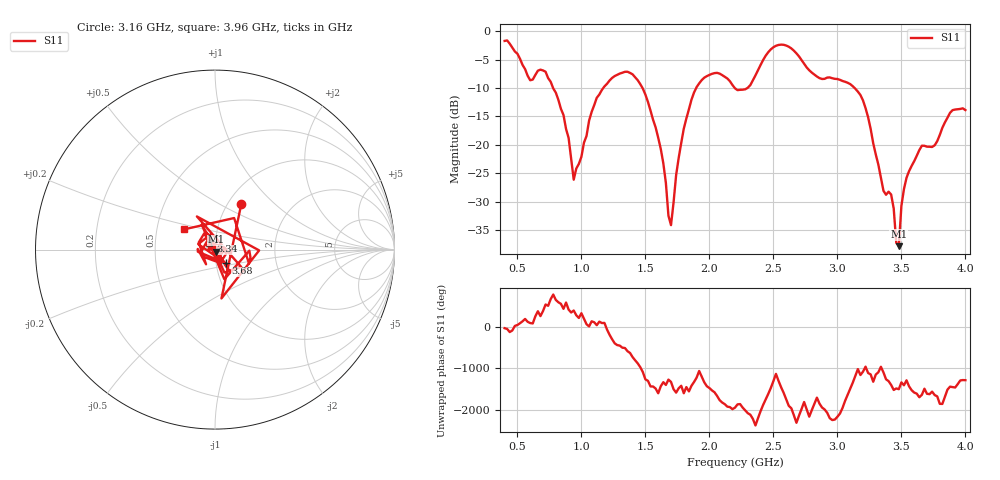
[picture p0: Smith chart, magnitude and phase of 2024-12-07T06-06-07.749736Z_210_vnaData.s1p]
!Created with skrf (http://scikit-rf.org).
# Hz S RI R 50.0
!freq ReS11 ImS11
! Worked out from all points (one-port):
!   181 points, 400 MHz to 4 GHz, reference 50 ohm
!   lowest |S11| = -37.8 dB at 3.48 GHz (marker M1), VSWR 1.03, Z = 50.6 - j1.15 ohm
!   |S11| at or under -10 dB: 778.9 MHz to 1.171 GHz (391.8 MHz wide, 40.2 % of centre); 1.478 GHz to 1.897 GHz (419.1 MHz wide, 24.8 % of centre); 3.135 GHz to end of sweep (the widest 3 of 4)
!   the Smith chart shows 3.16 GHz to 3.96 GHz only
!   S11 on the Smith chart (normalised r, x): 3.16 GHz: 1.15, +0.64; 3.34 GHz: 0.95, +0.09; 3.68 GHz: 1.12, -0.17; 3.96 GHz: 0.69, +0.16
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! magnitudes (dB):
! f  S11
! 400 MHz  -1.7
! 600 MHz  -8.6
! 720 MHz  -7.1
! 860 MHz  -14.7
! 940 MHz  -26.1
! 1.12 GHz  -11.7
! 1.3 GHz  -7.5
! 1.52 GHz  -12.4
! 1.62 GHz  -20.7
! 1.7 GHz  -34.1
! 1.76 GHz  -22.3
! 1.86 GHz  -12.0
! 1.94 GHz  -8.6
! 2.2 GHz  -10.1
! 2.32 GHz  -9.5
! 2.5 GHz  -2.8
! 2.66 GHz  -3.4
! 3.1 GHz  -9.3
! 3.16 GHz  -10.6
! 3.34 GHz  -25.8
! 3.42 GHz  -28.8
! 3.46 GHz  -37.3
! 3.48 GHz  -37.8
! 3.5 GHz  -30.7
! 3.56 GHz  -24.6
! 3.68 GHz  -20.2
! 3.96 GHz  -13.7
! 4 GHz  -13.9
